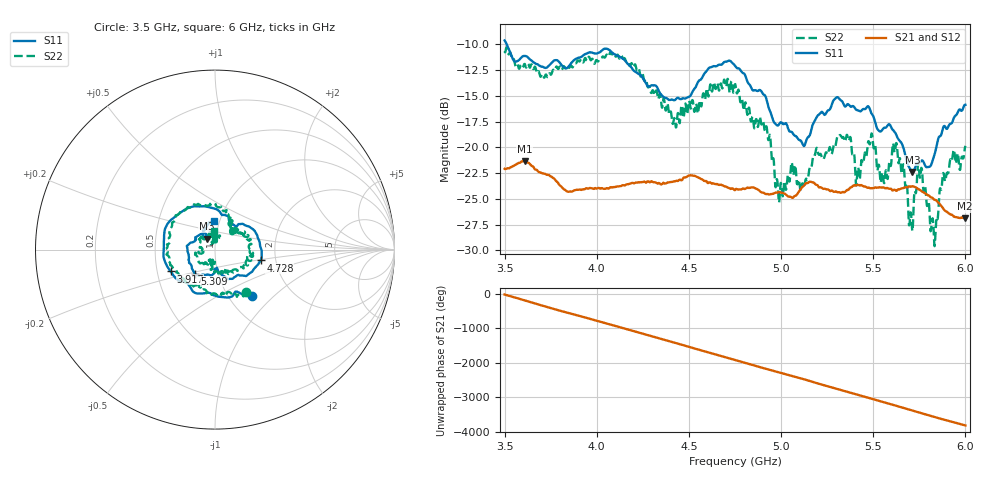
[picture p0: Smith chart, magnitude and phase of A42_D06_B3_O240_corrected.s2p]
! Created with skrf 1.9.0 (http://scikit-rf.org).
# Hz S RI R 50.0
!freq ReS11 ImS11 ReS21 ImS21 ReS12 ImS12 ReS22 ImS22
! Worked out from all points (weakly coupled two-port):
!   1601 points, 3.5 GHz to 6 GHz, reference 50 ohm
!   highest |S21| = -21.33 dB at 3.609 GHz (marker M1); lowest = -26.9 dB at 5.995 GHz (marker M2)
!   lowest |S11| = -22.4 dB at 5.713 GHz (marker M3), VSWR 1.16, Z = 45.3 + j5.47 ohm
!   |S11| at or under -10 dB: 3.512 GHz to end of sweep
!   |S22| runs from -29.6 to -10.3 dB; largest |S21 - S12| = 0.001
!   S11 on the Smith chart (normalised r, x): 3.5 GHz: 1.27, -0.74; 3.917 GHz: 0.59, -0.16; 4.728 GHz: 1.66, -0.22; 5.309 GHz: 0.77, -0.21; 6 GHz: 0.93, +0.31
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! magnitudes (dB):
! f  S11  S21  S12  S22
! 3.5 GHz  -9.6  -22.1  -22.1  -10.7
! 3.609 GHz  -11.1  -21.3  -21.3  -11.9
! 3.917 GHz  -11.2  -24.1  -24.1  -11.5
! 4.141 GHz  -11.4  -23.7  -23.7  -11.3
! 4.334 GHz  -14.4  -23.5  -23.4  -15.3
! 4.422 GHz  -15.4  -23.3  -23.3  -17.2
! 4.728 GHz  -11.7  -24.0  -23.9  -13.8
! 4.75 GHz  -12.1  -24.2  -24.0  -13.9
! 4.912 GHz  -15.0  -24.5  -24.4  -18.4
! 4.997 GHz  -17.6  -24.4  -24.3  -23.6
! 5.167 GHz  -18.1  -23.4  -23.3  -21.7
! 5.309 GHz  -15.2  -24.4  -24.3  -19.0
! 5.416 GHz  -16.4  -23.7  -23.7  -22.1
! 5.484 GHz  -16.4  -24.0  -23.9  -19.4
! 5.584 GHz  -17.8  -24.0  -24.0  -21.8
! 5.619 GHz  -18.6  -24.1  -24.1  -20.3
! 5.713 GHz  -22.4  -23.8  -23.7  -28.1
! 5.753 GHz  -21.4  -24.1  -24.1  -22.9
! 5.838 GHz  -20.4  -25.1  -25.0  -28.2
! 5.873 GHz  -18.5  -25.8  -25.7  -23.4
! 5.995 GHz  -15.9  -26.9  -26.8  -20.3
! 6 GHz  -15.9  -26.9  -26.8  -19.9
